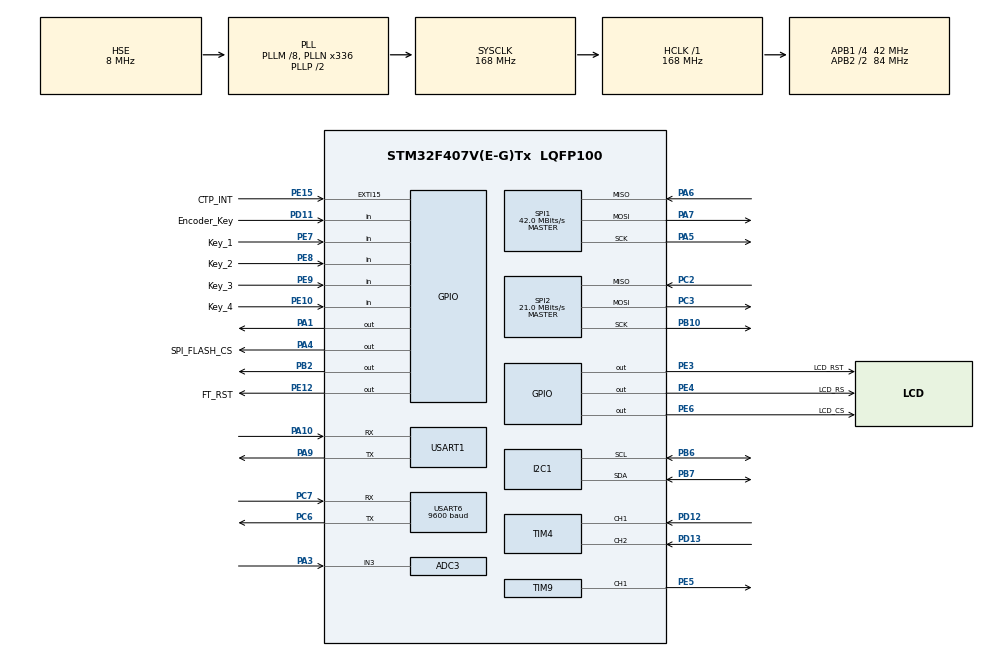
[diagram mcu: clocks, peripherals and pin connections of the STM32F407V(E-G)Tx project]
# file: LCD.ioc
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ADC3.Channel-2\#ChannelRegularConversion=ADC_CHANNEL_3
ADC3.ContinuousConvMode=DISABLE
ADC3.ExternalTrigConv=ADC_EXTERNALTRIGCONV_T3_TRGO
ADC3.NbrOfConversionFlag=1
ADC3.Rank-2\#ChannelRegularConversion=1
ADC3.SamplingTime-2\#ChannelRegularConversion=ADC_SAMPLETIME_480CYCLES
Dma.ADC3.3.Direction=DMA_PERIPH_TO_MEMORY
Dma.ADC3.3.FIFOMode=DMA_FIFOMODE_DISABLE
Dma.ADC3.3.Instance=DMA2_Stream1
Dma.ADC3.3.MemDataAlignment=DMA_MDATAALIGN_HALFWORD
Dma.ADC3.3.MemInc=DMA_MINC_ENABLE
Dma.ADC3.3.Mode=DMA_NORMAL
Dma.ADC3.3.PeriphDataAlignment=DMA_PDATAALIGN_HALFWORD
Dma.ADC3.3.PeriphInc=DMA_PINC_DISABLE
Dma.ADC3.3.Priority=DMA_PRIORITY_HIGH
Dma.Request0=SPI1_RX
Dma.Request1=SPI1_TX
Dma.Request2=SPI2_TX
Dma.Request3=ADC3
Dma.SPI1_RX.0.Direction=DMA_PERIPH_TO_MEMORY
Dma.SPI1_RX.0.FIFOMode=DMA_FIFOMODE_DISABLE
Dma.SPI1_RX.0.Instance=DMA2_Stream0
Dma.SPI1_RX.0.MemDataAlignment=DMA_MDATAALIGN_BYTE
Dma.SPI1_RX.0.MemInc=DMA_MINC_ENABLE
Dma.SPI1_RX.0.Mode=DMA_NORMAL
Dma.SPI1_RX.0.PeriphDataAlignment=DMA_PDATAALIGN_BYTE
Dma.SPI1_RX.0.PeriphInc=DMA_PINC_DISABLE
Dma.SPI1_RX.0.Priority=DMA_PRIORITY_LOW
Dma.SPI1_TX.1.Direction=DMA_MEMORY_TO_PERIPH
Dma.SPI1_TX.1.FIFOMode=DMA_FIFOMODE_DISABLE
Dma.SPI1_TX.1.Instance=DMA2_Stream3
Dma.SPI1_TX.1.MemDataAlignment=DMA_MDATAALIGN_BYTE
Dma.SPI1_TX.1.MemInc=DMA_MINC_ENABLE
Dma.SPI1_TX.1.Mode=DMA_NORMAL
Dma.SPI1_TX.1.PeriphDataAlignment=DMA_PDATAALIGN_BYTE
Dma.SPI1_TX.1.PeriphInc=DMA_PINC_DISABLE
Dma.SPI1_TX.1.Priority=DMA_PRIORITY_LOW
Dma.SPI2_TX.2.Direction=DMA_MEMORY_TO_PERIPH
Dma.SPI2_TX.2.FIFOMode=DMA_FIFOMODE_DISABLE
Dma.SPI2_TX.2.Instance=DMA1_Stream4
Dma.SPI2_TX.2.MemDataAlignment=DMA_MDATAALIGN_BYTE
Dma.SPI2_TX.2.MemInc=DMA_MINC_ENABLE
Dma.SPI2_TX.2.Mode=DMA_NORMAL
Dma.SPI2_TX.2.PeriphDataAlignment=DMA_PDATAALIGN_BYTE
Dma.SPI2_TX.2.PeriphInc=DMA_PINC_DISABLE
Dma.SPI2_TX.2.Priority=DMA_PRIORITY_MEDIUM
FREERTOS.Tasks01=defaultTask,24,1024,StartDefaultTask,Default,NULL,Dynamic,NULL,NULL
FREERTOS.configCHECK_FOR_STACK_OVERFLOW=2
FREERTOS.configENABLE_FPU=1
FREERTOS.configTOTAL_HEAP_SIZE=24576
FREERTOS.configUSE_MALLOC_FAILED_HOOK=1
I2C1.I2C_Mode=I2C_Fast
Mcu.Family=STM32F4
Mcu.Name=STM32F407V(E-G)Tx
Mcu.Package=LQFP100
NVIC.ADC_IRQn=true\:5\:0\:false\:false\:true\:true\:true\:true\:true
NVIC.DMA1_Stream4_IRQn=true\:5\:0\:false\:false\:true\:true\:false\:true\:true
NVIC.DMA2_Stream0_IRQn=true\:7\:0\:true\:false\:true\:true\:false\:true\:true
NVIC.DMA2_Stream1_IRQn=true\:6\:0\:true\:false\:true\:true\:false\:true\:true
NVIC.DMA2_Stream3_IRQn=true\:7\:0\:true\:false\:true\:true\:false\:true\:true
NVIC.I2C1_ER_IRQn=true\:9\:0\:true\:false\:true\:true\:true\:true\:true
NVIC.I2C1_EV_IRQn=true\:9\:0\:true\:false\:true\:true\:true\:true\:true
NVIC.PriorityGroup=NVIC_PRIORITYGROUP_4
NVIC.TIM6_DAC_IRQn=true\:10\:0\:true\:false\:true\:true\:true\:true\:true
NVIC.TIM7_IRQn=true\:5\:0\:true\:false\:true\:false\:false\:true\:true
NVIC.TimeBase=TIM7_IRQn
NVIC.TimeBaseIP=TIM7
NVIC.USART6_IRQn=true\:10\:0\:true\:false\:true\:true\:true\:true\:true
PA1.GPIO_Speed=GPIO_SPEED_FREQ_VERY_HIGH
PA1.Signal=GPIO_Output
PA10.Mode=Asynchronous
PA10.Signal=USART1_RX
PA13.Mode=Serial_Wire
PA13.Signal=SYS_JTMS-SWDIO
PA14.Mode=Serial_Wire
PA14.Signal=SYS_JTCK-SWCLK
PA3.Signal=ADCx_IN3
PA4.GPIO_Label=SPI_FLASH_CS
PA4.GPIO_Speed=GPIO_SPEED_FREQ_HIGH
PA4.PinState=GPIO_PIN_SET
PA4.Signal=GPIO_Output
PA5.Mode=Full_Duplex_Master
PA5.Signal=SPI1_SCK
PA6.Mode=Full_Duplex_Master
PA6.Signal=SPI1_MISO
PA7.Mode=Full_Duplex_Master
PA7.Signal=SPI1_MOSI
PA9.Mode=Asynchronous
PA9.Signal=USART1_TX
PB10.Mode=Full_Duplex_Master
PB10.Signal=SPI2_SCK
PB2.PinState=GPIO_PIN_SET
PB2.Signal=GPIO_Output
PB6.Mode=I2C
PB6.Signal=I2C1_SCL
PB7.Mode=I2C
PB7.Signal=I2C1_SDA
PC2.Mode=Full_Duplex_Master
PC2.Signal=SPI2_MISO
PC3.Mode=Full_Duplex_Master
PC3.Signal=SPI2_MOSI
PC6.Mode=Asynchronous
PC6.Signal=USART6_TX
PC7.Mode=Asynchronous
PC7.Signal=USART6_RX
PD11.GPIO_Label=Encoder_Key
PD11.GPIO_PuPd=GPIO_PULLUP
PD11.Signal=GPIO_Input
PD12.Signal=S_TIM4_CH1
PD13.Signal=S_TIM4_CH2
PE10.GPIO_Label=Key_4
PE10.GPIO_PuPd=GPIO_PULLUP
PE10.Signal=GPIO_Input
PE12.GPIO_Label=FT_RST
PE12.GPIO_Speed=GPIO_SPEED_FREQ_HIGH
PE12.Signal=GPIO_Output
PE15.GPIO_Label=CTP_INT
PE15.GPIO_ModeDefaultEXTI=GPIO_MODE_IT_FALLING
PE15.GPIO_PuPd=GPIO_PULLUP
PE15.Signal=GPXTI15
PE3.GPIO_Label=LCD_RST
PE3.GPIO_Speed=GPIO_SPEED_FREQ_MEDIUM
PE3.Signal=GPIO_Output
PE4.GPIO_Label=LCD_RS
PE4.GPIO_Speed=GPIO_SPEED_FREQ_VERY_HIGH
PE4.Signal=GPIO_Output
PE5.Signal=S_TIM9_CH1
PE6.GPIO_Label=LCD_CS
PE6.GPIO_Speed=GPIO_SPEED_FREQ_VERY_HIGH
PE6.PinState=GPIO_PIN_SET
PE6.Signal=GPIO_Output
PE7.GPIO_Label=Key_1
PE7.GPIO_PuPd=GPIO_PULLUP
PE7.Signal=GPIO_Input
PE8.GPIO_Label=Key_2
PE8.GPIO_PuPd=GPIO_PULLUP
PE8.Signal=GPIO_Input
PE9.GPIO_Label=Key_3
PE9.GPIO_PuPd=GPIO_PULLUP
PE9.Signal=GPIO_Input
PH0-OSC_IN.Mode=HSE-External-Oscillator
PH0-OSC_IN.Signal=RCC_OSC_IN
PH1-OSC_OUT.Mode=HSE-External-Oscillator
PH1-OSC_OUT.Signal=RCC_OSC_OUT
ProjectManager.HeapSize=0x0100
ProjectManager.StackSize=0x0800
ProjectManager.TargetToolchain=CMake
RCC.48MHZClocksFreq_Value=84000000
RCC.AHBFreq_Value=168000000
RCC.APB1CLKDivider=RCC_HCLK_DIV4
RCC.APB1Freq_Value=42000000
RCC.APB1TimFreq_Value=84000000
RCC.APB2CLKDivider=RCC_HCLK_DIV2
RCC.APB2Freq_Value=84000000
RCC.APB2TimFreq_Value=168000000
RCC.CortexFreq_Value=168000000
RCC.HCLKFreq_Value=168000000
RCC.HSE_VALUE=8000000
RCC.HSI_VALUE=16000000
RCC.LSE_VALUE=32768
RCC.PLLM=8
RCC.PLLN=336
RCC.PLLSourceVirtual=RCC_PLLSOURCE_HSE
RCC.SYSCLKFreq_VALUE=168000000
RCC.SYSCLKSource=RCC_SYSCLKSOURCE_PLLCLK
RCC.VCOOutputFreq_Value=336000000
SH.ADCx_IN3.0=ADC3_IN3,IN3
SH.S_TIM4_CH1.0=TIM4_CH1,Encoder_Interface
SH.S_TIM4_CH2.0=TIM4_CH2,Encoder_Interface
SH.S_TIM9_CH1.0=TIM9_CH1,PWM Generation1 CH1
SPI1.BaudRatePrescaler=SPI_BAUDRATEPRESCALER_2
SPI1.CLKPhase=SPI_PHASE_2EDGE
SPI1.CLKPolarity=SPI_POLARITY_HIGH
SPI1.CalculateBaudRate=42.0 MBits/s
SPI1.Direction=SPI_DIRECTION_2LINES
SPI1.Mode=SPI_MODE_MASTER
SPI1.VirtualType=VM_MASTER
SPI2.BaudRatePrescaler=SPI_BAUDRATEPRESCALER_2
SPI2.CLKPhase=SPI_PHASE_2EDGE
SPI2.CLKPolarity=SPI_POLARITY_HIGH
SPI2.CalculateBaudRate=21.0 MBits/s
SPI2.Direction=SPI_DIRECTION_2LINES
SPI2.Mode=SPI_MODE_MASTER
SPI2.VirtualType=VM_MASTER
STMicroelectronics.X-CUBE-ALGOBUILD.1.4.0.LibraryCcDSPOoLibraryJjDSPOoLibrary=true
TIM3.Period=8400-1
TIM3.Prescaler=0
TIM3.TIM_MasterOutputTrigger=TIM_TRGO_UPDATE
TIM3.TIM_MasterSlaveMode=TIM_MASTERSLAVEMODE_ENABLE
TIM4.EncoderMode=TIM_ENCODERMODE_TI12
TIM6.AutoReloadPreload=TIM_AUTORELOAD_PRELOAD_ENABLE
TIM6.Period=1000-1
TIM6.Prescaler=84-1
TIM9.Channel-PWM\ Generation1\ CH1=TIM_CHANNEL_1
TIM9.Period=999
TIM9.Prescaler=83
USART1.VirtualMode=VM_ASYNC
USART6.BaudRate=9600
USART6.VirtualMode=VM_ASYNC
VP_FREERTOS_VS_CMSIS_V2.Mode=CMSIS_V2
VP_STMicroelectronics.X-CUBE-ALGOBUILD_VS_DSPOoLibraryJjLibrary_1.4.0_1.4.0.Mode=DSPOoLibraryJjLibrary
VP_SYS_VS_tim7.Mode=TIM7
VP_TIM3_VS_ClockSourceINT.Mode=Internal
VP_TIM6_VS_ClockSourceINT.Mode=Enable_Timer
board=custom

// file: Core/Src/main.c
/* USER CODE BEGIN Header */
/**
  ******************************************************************************
  * @file           : main.c
  * @brief          : Main program body
  ******************************************************************************
  * @attention
  *
  * Copyright (c) 2025 STMicroelectronics.
  * All rights reserved.
  *
  * This software is licensed under terms that can be found in the LICENSE file
  * in the root directory of this software component.
  * If no LICENSE file comes with this software, it is provided AS-IS.
  *
  ******************************************************************************
  */
/* USER CODE END Header */
#include "main.h"
#include "cmsis_os.h"
#include "adc.h"
#include "dma.h"
#include "i2c.h"
#include "spi.h"
#include "tim.h"
#include "usart.h"
#include "gpio.h"

/* USER CODE BEGIN Includes */
#include "arm_math.h"
#include "Key.h"
#include "stdio.h"
#include "stdint.h"
#include "stdlib.h"
#include "LCD.h"
#include "spi_flash.h"
#include "encoder.h"
#include "menu_system.h"
#include "LoRa.h"
#include "event.h"
#include "lv_port_fs_w25q.h"        //虚拟文件
#include "lvgl.h"
#include "ft6336.h"
#include "lv_port_disp.h"
#include "lv_port_indev.h"
#include "effect.h"
#include "FFT.h"

/* USER CODE END Includes */

/* USER CODE BEGIN PTD */

/* --- 动态字库内存池声明 --- */
// FFT 已经静态分配掉了 16KB，CCMRAM 共有 64KB。
#define FONT_POOL_SIZE  (40 * 1024)

// 让编译器把这个 46KB 数组安全地安顿在 CCM 里，它会自动防碰撞！
__attribute__((section(".ccmram"), aligned(4)))
static uint8_t font_pool[FONT_POOL_SIZE];

static uint32_t font_alloc_offset = 0; // 当前已分配的偏移量

/**
 * @brief  字库内存分配器 (线性增长)
 * @param  size: 申请的大小 (字节)
 * @return 成功返回内存指针，失败返回 NULL
 */
void * lv_font_ccm_alloc(size_t size) {
    // 1. 4字节对齐：将 size 向上取整到 4 的倍数 (ARM 架构规范)
    size = (size + 3) & ~3;

    // 2. 边界检查：超标直接拦截报错
    if (font_alloc_offset + size > FONT_POOL_SIZE) {
        printf("[CCM Alert] Font allocation overflow!\n");
        return NULL;
    }

    // 3. 给出地址，移动偏移量
    void * p = &font_pool[font_alloc_offset];
    font_alloc_offset += size;

    return p;
}

/**
 * @brief  逻辑清空字库区
 */
void lv_font_ccm_reset(void) {
    font_alloc_offset = 0; // 一秒还原，懒清空
}

/* USER CODE END PTD */

/* USER CODE BEGIN PV */
// 1. ADC 原始数据缓冲区 (1024个点，每个点2字节)
uint16_t adc_buffer[SAMPLE_SIZE];

extern osSemaphoreId_t adcReadySemHandle;
/* USER CODE END PV */

void SystemClock_Config(void);
void MX_FREERTOS_Init(void);

int main(void)
{

  /* USER CODE BEGIN 1 */
    // 1. 同步链接脚本修改：主栈大小设为 2KB (0x0800)
    // 2. 栈顶在 0x20020000。
    // 3. 向下偏移 64 字节再开始刷，给当前 main 函数的运行留出栈空间，防止自己把自己刷死！
    uint32_t *stack_ptr = (uint32_t *)0x2001F800;
    for(int i=0; i < ((2048 - 64) / 4); i++) {
        stack_ptr[i] = 0xAAAAAAAA;
    }

  /* USER CODE END 1 */

  /* MCU Configuration--------------------------------------------------------*/

  /* Reset of all peripherals, Initializes the Flash interface and the Systick. */
  HAL_Init();

  /* Configure the system clock */
  SystemClock_Config();

  /* Initialize all configured peripherals */
  MX_GPIO_Init();
  MX_DMA_Init();
  MX_SPI1_Init();
  MX_USART1_UART_Init();
  MX_TIM4_Init();
  MX_TIM6_Init();
  MX_SPI2_Init();
  MX_TIM9_Init();
  MX_USART6_UART_Init();
  MX_I2C1_Init();
  MX_ADC3_Init();
  MX_TIM3_Init();
  /* USER CODE BEGIN 2 */
   LCD_Init();
   /* 在 LCD_Init() 之后调用 */
   HAL_TIM_PWM_Start(&htim9, TIM_CHANNEL_1);
   LCD_Set_Brightness(g_sys_config.backlight_val);
   effect_init();           //轨迹特效
   USART6_Config(9600);

   BSP_W25Q_Init();

   Key_Init();
   lv_init();                             // LVGL 初始化
   lv_port_disp_init();                   // 注册LVGL的显示任务
   lv_port_indev_init();                  // 注册LVGL的触屏检测任务
   lv_port_fs_init();                     // 虚拟文件系统
   HAL_TIM_Base_Start_IT(&htim6);

   font_load ();
   UI_Init();

  /* USER CODE END 2 */

  /* Init scheduler */
  osKernelInitialize();

  /* Call init function for freertos objects (in cmsis_os2.c) */
  MX_FREERTOS_Init();

  /* Start scheduler */
  osKernelStart();

  /* We should never get here as control is now taken by the scheduler */

  /* Infinite loop */
  while (1)
  {

  }
}

void SystemClock_Config(void)
{
  RCC_OscInitTypeDef RCC_OscInitStruct = {0};
  RCC_ClkInitTypeDef RCC_ClkInitStruct = {0};

  /** Configure the main internal regulator output voltage
  */
  __HAL_RCC_PWR_CLK_ENABLE();
  __HAL_PWR_VOLTAGESCALING_CONFIG(PWR_REGULATOR_VOLTAGE_SCALE1);

  /** Initializes the RCC Oscillators according to the specified parameters
  * in the RCC_OscInitTypeDef structure.
  */
  RCC_OscInitStruct.OscillatorType = RCC_OSCILLATORTYPE_HSE;
  RCC_OscInitStruct.HSEState = RCC_HSE_ON;
  RCC_OscInitStruct.PLL.PLLState = RCC_PLL_ON;
  RCC_OscInitStruct.PLL.PLLSource = RCC_PLLSOURCE_HSE;
  RCC_OscInitStruct.PLL.PLLM = 8;
  RCC_OscInitStruct.PLL.PLLN = 336;
  RCC_OscInitStruct.PLL.PLLP = RCC_PLLP_DIV2;
  RCC_OscInitStruct.PLL.PLLQ = 4;
  if (HAL_RCC_OscConfig(&RCC_OscInitStruct) != HAL_OK)
  {
    Error_Handler();
  }

  /** Initializes the CPU, AHB and APB buses clocks
  */
  RCC_ClkInitStruct.ClockType = RCC_CLOCKTYPE_HCLK|RCC_CLOCKTYPE_SYSCLK
                              |RCC_CLOCKTYPE_PCLK1|RCC_CLOCKTYPE_PCLK2;
  RCC_ClkInitStruct.SYSCLKSource = RCC_SYSCLKSOURCE_PLLCLK;
  RCC_ClkInitStruct.AHBCLKDivider = RCC_SYSCLK_DIV1;
  RCC_ClkInitStruct.APB1CLKDivider = RCC_HCLK_DIV4;
  RCC_ClkInitStruct.APB2CLKDivider = RCC_HCLK_DIV2;

  if (HAL_RCC_ClockConfig(&RCC_ClkInitStruct, FLASH_LATENCY_5) != HAL_OK)
  {
    Error_Handler();
  }
}

/* USER CODE BEGIN 4 */
int fputc(int ch, FILE *f)   {
    (void)f;
    uint8_t temp[1] = {ch};
 HAL_UART_Transmit(&huart1, temp, 1, 2);
 return ch;
}

/* 引用我们在 lv_port_disp.c 里定义的全局指针 */
extern lv_disp_drv_t * disp_drv_ptr;

// 0: 总线空闲, 2: Flash 正在占用
//volatile uint8_t SPI1_Bus_Owner = 0;

// DMA 传输完成回调（TX）
void HAL_SPI_TxCpltCallback(SPI_HandleTypeDef *hspi)
{
    if (hspi->Instance == SPI2 )
    {
		// 拉高片选，结束本次通信
         LCD_CS_SET;
        //  核心：通知 LVGL 刚才那块数据发完了，你可以把下一块交给我了
        if(disp_drv_ptr != NULL)
        {
            lv_disp_flush_ready(disp_drv_ptr);
        }
    }
}

// DMA 传输完成回调（RX）
void HAL_SPI_RxCpltCallback(SPI_HandleTypeDef *hspi)
{
     if (hspi->Instance == SPI1) {
        BSP_W25Q_DMA_Callback_Handler(hspi);
		// SPI1_Bus_Owner = 0;        // 释放总线
    }
}

// HAL UART接收完成回调

void HAL_UART_RxCpltCallback(UART_HandleTypeDef *huart)
{
	    if (huart->Instance == USART6) {
        // 存储接收字节
        buff[buf_count] = rx_byte;
        buf_count++;
        if (buf_count >= 128) {
            buf_count = 0;
        }
	   // printf(" 0x%02X, %d\r\n", rx_byte, buf_count);

        // HAL 标准：重新启动接收
        HAL_UART_Receive_IT(&huart6, &rx_byte, 1);
    }
}

		  /**
 * @brief ADC 采样完成回调
 * @note 当 DMA 搬满 1024 个 point 时，硬件自动调用此函数
 */
void HAL_ADC_ConvCpltCallback(ADC_HandleTypeDef* hadc) {
    if (hadc->Instance == ADC3) {
        // 1. 立即停止定时器！
        HAL_TIM_Base_Stop(&htim3);

        // 2. 发出“数据就绪”信号
        if (adcReadySemHandle != NULL)
        {
            // CMSIS-RTOS2 的 osSemaphoreRelease 内部已经处理了 ISR 检查
            osSemaphoreRelease(adcReadySemHandle);
        }
    }
}

void HAL_GPIO_EXTI_Callback(uint16_t GPIO_Pin)               //触摸屏
{
    if (GPIO_Pin == FT_INT_PIN) {
        ft6336_irq_flag =true;
    }
}

/* USER CODE END 4 */

void HAL_TIM_PeriodElapsedCallback(TIM_HandleTypeDef *htim)
{
  /* USER CODE BEGIN Callback 0 */
  if (htim->Instance == TIM6) {
      lv_tick_inc(1);  //1ms LVGL心跳
  }
  /* USER CODE END Callback 0 */
  if (htim->Instance == TIM7)
  {
    HAL_IncTick();
  }
}

void Error_Handler(void)
{
  __disable_irq();
  while (1)
  {
  }
}

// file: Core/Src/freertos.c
/* USER CODE BEGIN Header */
/**
  ******************************************************************************
  * File Name          : freertos.c
  * Description        : Code for freertos applications
  ******************************************************************************
  * @attention
  *
  * Copyright (c) 2026 STMicroelectronics.
  * All rights reserved.
  *
  * This software is licensed under terms that can be found in the LICENSE file
  * in the root directory of this software component.
  * If no LICENSE file comes with this software, it is provided AS-IS.
  *
  ******************************************************************************
  */
/* USER CODE END Header */

#include "FreeRTOS.h"
#include "task.h"
#include "main.h"
#include "cmsis_os.h"

/* USER CODE BEGIN Includes */
#include "FFT.h"
#include "Key.h"
#include "encoder.h"
#include "ft6336.h"
#include "event.h"
#include "menu_system.h"
#include "lvgl.h"
#include "adc.h"
#include "tim.h"

extern ADC_HandleTypeDef hadc3;
extern TIM_HandleTypeDef htim3;
/* USER CODE END Includes */

/* USER CODE BEGIN Variables */
osSemaphoreId_t adcReadySemHandle;
const osSemaphoreAttr_t adcReadySem_attributes = {
  .name = "adcReadySem"
};
extern uint16_t adc_buffer[1024];

// FFT
osThreadId_t fftTaskHandle;
const osThreadAttr_t fftTask_attributes = {
  .name = "fftTask",
  .stack_size = 256 * 4,
  .priority = (osPriority_t) osPriorityHigh,
};

//Input
osThreadId_t inputTaskHandle;
const osThreadAttr_t inputTask_attributes = {
  .name = "inputTask",
  .stack_size = 256 * 4,
  .priority = (osPriority_t) osPriorityAboveNormal,
};

// 任务堆栈监控变量
uint32_t fftTaskStackFree = 0;        //任务专门的栈监测
uint32_t defaultTaskStackFree = 0;
uint32_t inputTaskStackFree = 0;

/* USER CODE END Variables */
/* Definitions for defaultTask */
osThreadId_t defaultTaskHandle;
const osThreadAttr_t defaultTask_attributes = {
  .name = "defaultTask",
  .stack_size = 1024 * 4,
  .priority = (osPriority_t) osPriorityNormal,
};

/* USER CODE BEGIN FunctionPrototypes */
void StartFftTask(void *argument);
void StartInputTask(void *argument);
/* USER CODE END FunctionPrototypes */

void StartDefaultTask(void *argument);

void MX_FREERTOS_Init(void); /* (MISRA C 2004 rule 8.1) */

/* Hook prototypes */
void vApplicationStackOverflowHook(xTaskHandle xTask, signed char *pcTaskName);
void vApplicationMallocFailedHook(void);

/* USER CODE BEGIN 4 */
void vApplicationStackOverflowHook(xTaskHandle xTask, signed char *pcTaskName)
{
   /* Run time stack overflow checking is performed if
   configCHECK_FOR_STACK_OVERFLOW is defined to 1 or 2. This hook function is
   called if a stack overflow is detected. */
   (void)xTask;
   (void)pcTaskName;

   // 挂起中断并进入死循环，方便在调试器里查看Call Stack
   taskDISABLE_INTERRUPTS();
   while (1) {
       // Stack overflow detected!
       // Check xTask and pcTaskName in debugger variables
   }
}

void vApplicationMallocFailedHook(void)
{
    /* vApplicationMallocFailedHook() will only be called if
    configUSE_MALLOC_FAILED_HOOK is set to 1 in FreeRTOSConfig.h. It is a hook
    function that will get called if a call to pvPortMalloc() fails. */

    // 挂起中断并进入死循环，方便在调试器里排查
    taskDISABLE_INTERRUPTS();
    while (1) {
        // Malloc failed! Not enough FreeRTOS heap.
    }
}
/* USER CODE END 4 */

/* USER CODE BEGIN 5 */
// 这里保持为空，或者由 CubeMX 自动更新。实际实现已经放在 USER CODE 4 中并由 USER CODE 5 的注释块管理实现
/* USER CODE END 5 */

void MX_FREERTOS_Init(void) {

  /* USER CODE BEGIN RTOS_SEMAPHORES */
  /* add semaphores, ... */
  adcReadySemHandle = osSemaphoreNew(1, 0, &adcReadySem_attributes);
  /* USER CODE END RTOS_SEMAPHORES */

  /* Create the thread(s) */
  /* creation of defaultTask */
  defaultTaskHandle = osThreadNew(StartDefaultTask, NULL, &defaultTask_attributes);

  /* USER CODE BEGIN RTOS_THREADS */
  /* add threads, ... */
  fftTaskHandle = osThreadNew(StartFftTask, NULL, &fftTask_attributes);
  inputTaskHandle = osThreadNew(StartInputTask, NULL, &inputTask_attributes);
  /* USER CODE END RTOS_THREADS */

}

void StartDefaultTask(void *argument)
{
  /* USER CODE BEGIN StartDefaultTask */
  (void)argument; // 消除未使用的参数警告
  /* Infinite loop */
  for(;;)
  {
    Event_t evt;
    if (Event_Dequeue(&evt))
    {
        // 菜单事件处理放在 GUI 任务中，避免多线程调用 LVGL 函数导致崩溃
        Menu_OnEvent(&evt);
    }

    // ==========================================
    // 监控自身堆栈
    defaultTaskStackFree = uxTaskGetStackHighWaterMark(NULL) * sizeof(StackType_t);

    osDelay(1);

    static uint8_t myLVGL = 0;
    if(myLVGL++ > 5){
        lv_timer_handler();
        myLVGL = 0;
    }
  }
  /* USER CODE END StartDefaultTask */
}

/* USER CODE BEGIN Application */
/**
* @brief Function implementing the InputTask thread.
* @param argument: Not used
* @retval None
*/
void StartInputTask(void *argument)
{
  (void)argument;
  for(;;)
  {
    Key_Scan();
    Encoder_Scan();
    FT6336U_Task(); // 触摸屏扫描

    // 监控自身堆栈
    inputTaskStackFree = uxTaskGetStackHighWaterMark(NULL) * sizeof(StackType_t);

    // 延时 10ms，保证 100Hz 的扫描频率，按键和编码器绝对不会丢步
    osDelay(10);
  }
}

/**
* @brief Function implementing the FftTask thread.
* @param argument: Not used
* @retval None
*/
void StartFftTask(void *argument)
{
  (void)argument;
  // 确保 FFT 内存已经分配好
  fft_module_init();

  // 1. 首次启动 ADC 与 Timer 去采第一帧数据
  HAL_ADC_Start_DMA(&hadc3, (uint32_t*)adc_buffer, SAMPLE_SIZE);
  HAL_TIM_Base_Start(&htim3);

  for(;;)
  {
    // 无期限等待 ADC 采集完成信号量
    if(osSemaphoreAcquire(adcReadySemHandle, osWaitForever) == osOK)
    {
        // 在算FFT之前，就把硬件关干净，防挂死！
        HAL_ADC_Stop_DMA(&hadc3);
        HAL_TIM_Base_Stop(&htim3);

        // FFT 计算
        fft_module_execute(adc_buffer);

        // 清除可能存在的 Overrun 错误状态，否则会导致 ADC_Start_DMA 失败 (HAL_BUSY)
        __HAL_ADC_CLEAR_FLAG(&hadc3, ADC_FLAG_OVR);

        // 暴力复位状态机（兼容不同的HAL版本）
        hadc3.State = HAL_ADC_STATE_READY;
        hadc3.ErrorCode = HAL_ADC_ERROR_NONE;

        if (hadc3.DMA_Handle) {
            hadc3.DMA_Handle->State = HAL_DMA_STATE_READY;
        }

        if (HAL_ADC_Start_DMA(&hadc3, (uint32_t*)adc_buffer, SAMPLE_SIZE) != HAL_OK) {
            // 如果启动失败，尝试硬件复位
            HAL_ADC_DeInit(&hadc3);
            MX_ADC3_Init();
            HAL_ADC_Start_DMA(&hadc3, (uint32_t*)adc_buffer, SAMPLE_SIZE);
        }

        // 重新清零 TIM 计数器保证等间隔触发
        __HAL_TIM_SET_COUNTER(&htim3, 0);
        HAL_TIM_Base_Start(&htim3);

        // 监控自身堆栈：uxTaskGetStackHighWaterMark 返回的是字(word)数，STM32上1字=4字节
        fftTaskStackFree = uxTaskGetStackHighWaterMark(NULL) * sizeof(StackType_t);
    }
  }
}
/* USER CODE END Application */
